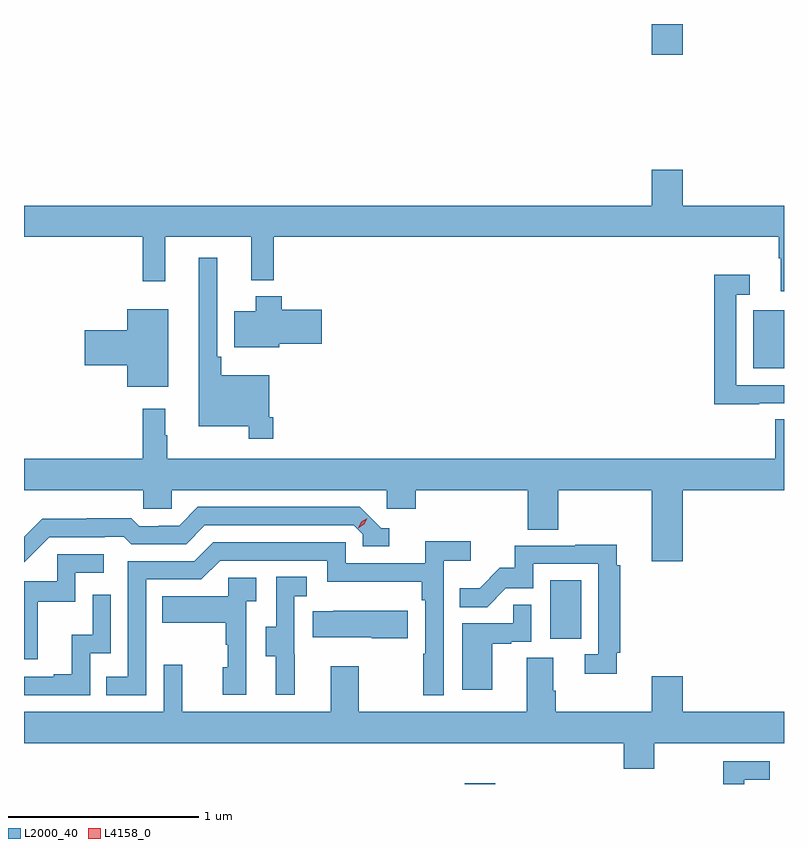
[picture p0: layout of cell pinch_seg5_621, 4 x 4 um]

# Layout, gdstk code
import gdstk
lib = gdstk.Library(unit=1e-6, precision=1e-09)
def R(c, l, rs):  # rectangles x0, y0, x1, y1
    for r in rs: c.add(gdstk.rectangle(r[:2], r[2:], *l))
def P(c, l, *ps):  # polygons
    for p in ps: c.add(gdstk.Polygon(p, *l))
L2000_40 = (2000, 40)
L4158_0 = (4158, 0)

pinch_seg5_621 = lib.new_cell('pinch_seg5_621')
R(pinch_seg5_621, L2000_40, [(1015.172,861.873,1015.333,861.877), (1015.622,862.638,1015.786,862.945), (1016.69,864.06,1016.853,864.367), (1016.156,865.71,1016.32,865.873)])
P(pinch_seg5_621, L2000_40, [(1016.853,864.916),(1016.32,864.916),(1016.32,865.105),(1016.156,865.105),(1016.156,864.916),(1012.853,864.916),(1012.853,864.752),(1013.479,864.752),(1013.479,864.519),(1013.597,864.519),(1013.597,864.752),(1014.05,864.752),(1014.05,864.524),(1014.167,864.524),(1014.167,864.752),(1016.825,864.752),(1016.825,864.64),(1016.837,864.64),(1016.837,864.466),(1016.853,864.466)],
  [(1014.164,863.803),(1014.144,863.803),(1014.144,864.025),(1013.891,864.025),(1013.891,864.121),(1013.871,864.121),(1013.871,864.643),(1013.774,864.643),(1013.774,863.756),(1014.036,863.756),(1014.036,863.691),(1014.164,863.691)],
  [(1016.723,863.877),(1016.853,863.877),(1016.853,863.973),(1016.601,863.973),(1016.601,864.447),(1016.674,864.447),(1016.674,864.553),(1016.485,864.553),(1016.485,863.872),(1016.723,863.872)],
  [(1014.196,864.191),(1014.421,864.191),(1014.421,864.369),(1014.209,864.369),(1014.209,864.439),(1014.074,864.439),(1014.074,864.361),(1013.96,864.361),(1013.96,864.173),(1014.196,864.173)],
  [(1013.611,864.373),(1013.396,864.373),(1013.396,864.26),(1013.172,864.26),(1013.172,864.077),(1013.396,864.077),(1013.396,863.963),(1013.611,863.963)],
  [(1016.32,863.42),(1016.853,863.42),(1016.853,863.792),(1016.807,863.792),(1016.807,863.584),(1013.608,863.584),(1013.608,863.708),(1013.596,863.708),(1013.596,863.848),(1013.479,863.848),(1013.479,863.584),(1012.853,863.584),(1012.853,863.42),(1013.481,863.42),(1013.481,863.322),(1013.631,863.322),(1013.631,863.42),(1014.762,863.42),(1014.762,863.322),(1014.914,863.322),(1014.914,863.42),(1015.505,863.42),(1015.505,863.212),(1015.665,863.212),(1015.665,863.42),(1016.156,863.42),(1016.156,863.046),(1016.32,863.046)],
  [(1012.986,863.172),(1013.279,863.172),(1013.279,863.175),(1013.378,863.175),(1013.417,863.136),(1013.706,863.136),(1013.805,863.235),(1014.588,863.235),(1014.636,863.187),(1014.636,863.124),(1014.775,863.124),(1014.775,863.22),(1014.732,863.22),(1014.621,863.331),(1013.768,863.331),(1013.669,863.232),(1013.562,863.232),(1013.562,863.229),(1013.459,863.229),(1013.417,863.272),(1013.184,863.272),(1013.184,863.269),(1012.948,863.269),(1012.853,863.174),(1012.853,863.039)],
  [(1013.496,862.95),(1013.787,862.95),(1013.886,863.049),(1014.45,863.049),(1014.45,862.937),(1014.946,862.937),(1014.946,862.841),(1014.966,862.841),(1014.966,862.559),(1014.954,862.559),(1014.954,862.341),(1015.062,862.341),(1015.062,863.048),(1015.204,863.048),(1015.204,863.15),(1014.965,863.15),(1014.965,863.034),(1014.546,863.034),(1014.546,863.145),(1013.849,863.145),(1013.75,863.046),(1013.4,863.046),(1013.4,862.437),(1013.287,862.437),(1013.287,862.341),(1013.496,862.341)],
  [(1015.973,862.564),(1015.991,862.564),(1015.991,863.024),(1015.973,863.024),(1015.973,863.132),(1015.753,863.132),(1015.753,863.127),(1015.435,863.127),(1015.435,863.01),(1015.358,863.01),(1015.251,862.903),(1015.147,862.903),(1015.147,862.804),(1015.291,862.804),(1015.389,862.902),(1015.533,862.902),(1015.533,863.031),(1015.875,863.031),(1015.875,862.557),(1015.803,862.557),(1015.803,862.452),(1015.973,862.452)],
  [(1012.925,862.833),(1013.124,862.833),(1013.124,862.986),(1013.272,862.986),(1013.272,863.082),(1013.028,863.082),(1013.028,862.941),(1012.853,862.941),(1012.853,862.53),(1012.925,862.53)],
  [(1014.278,862.557),(1014.276,862.557),(1014.276,862.861),(1014.34,862.861),(1014.34,862.964),(1014.18,862.964),(1014.18,862.701),(1014.125,862.701),(1014.125,862.546),(1014.179,862.546),(1014.179,862.344),(1014.278,862.344)],
  [(1014.024,862.835),(1014.076,862.835),(1014.076,862.959),(1013.928,862.959),(1013.928,862.861),(1013.581,862.861),(1013.581,862.721),(1013.916,862.721),(1013.916,862.607),(1013.926,862.607),(1013.926,862.488),(1013.9,862.488),(1013.9,862.344),(1014.024,862.344)],
  [(1013.202,862.56),(1013.31,862.56),(1013.31,862.87),(1013.214,862.87),(1013.214,862.658),(1013.105,862.658),(1013.105,862.45),(1013.009,862.45),(1013.009,862.437),(1012.853,862.437),(1012.853,862.341),(1013.202,862.341)],
  [(1015.318,862.611),(1015.418,862.611),(1015.418,862.623),(1015.524,862.623),(1015.524,862.817),(1015.429,862.817),(1015.429,862.719),(1015.16,862.719),(1015.16,862.368),(1015.318,862.368)],
  [(1014.874,862.786),(1014.481,862.786),(1014.481,862.783),(1014.373,862.783),(1014.373,862.646),(1014.683,862.646),(1014.683,862.639),(1014.874,862.639)],
  [(1016.169,862.088),(1016.853,862.088),(1016.853,862.252),(1016.32,862.252),(1016.32,862.441),(1016.156,862.441),(1016.156,862.252),(1015.652,862.252),(1015.652,862.364),(1015.639,862.364),(1015.639,862.538),(1015.499,862.538),(1015.499,862.252),(1014.615,862.252),(1014.615,862.492),(1014.467,862.492),(1014.467,862.252),(1013.687,862.252),(1013.687,862.501),(1013.589,862.501),(1013.589,862.252),(1012.853,862.252),(1012.853,862.088),(1016.009,862.088),(1016.009,861.953),(1016.169,861.953)],
  [(1016.643,861.896),(1016.777,861.896),(1016.777,861.993),(1016.532,861.993),(1016.532,861.873),(1016.643,861.873)])
P(pinch_seg5_621, L4158_0, [(1014.612,863.22),(1014.612,863.221),(1014.629,863.253),(1014.66,863.272),(1014.66,863.272),(1014.66,863.272),(1014.644,863.239),(1014.613,863.22)])

lib.write_gds('pinch_seg5_621.gds')
